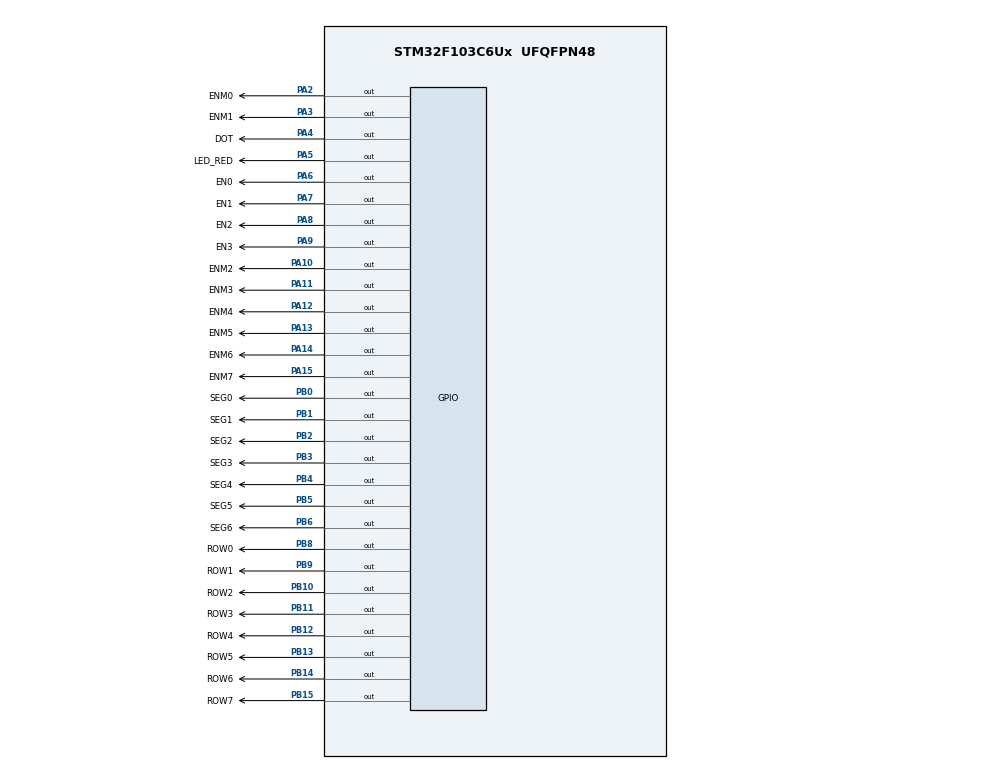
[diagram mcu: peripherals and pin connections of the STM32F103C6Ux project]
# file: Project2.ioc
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Mcu.Family=STM32F1
Mcu.Name=STM32F103C6Ux
Mcu.Package=UFQFPN48
NVIC.PriorityGroup=NVIC_PRIORITYGROUP_4
NVIC.TIM2_IRQn=true\:0\:0\:false\:false\:true\:true\:true
PA10.GPIO_Label=ENM2
PA10.Signal=GPIO_Output
PA11.GPIO_Label=ENM3
PA11.Signal=GPIO_Output
PA12.GPIO_Label=ENM4
PA12.Signal=GPIO_Output
PA13.GPIO_Label=ENM5
PA13.Signal=GPIO_Output
PA14.GPIO_Label=ENM6
PA14.Signal=GPIO_Output
PA15.GPIO_Label=ENM7
PA15.Signal=GPIO_Output
PA2.GPIO_Label=ENM0
PA2.Signal=GPIO_Output
PA3.GPIO_Label=ENM1
PA3.Signal=GPIO_Output
PA4.GPIO_Label=DOT
PA4.Signal=GPIO_Output
PA5.GPIO_Label=LED_RED
PA5.Signal=GPIO_Output
PA6.GPIO_Label=EN0
PA6.Signal=GPIO_Output
PA7.GPIO_Label=EN1
PA7.Signal=GPIO_Output
PA8.GPIO_Label=EN2
PA8.Signal=GPIO_Output
PA9.GPIO_Label=EN3
PA9.Signal=GPIO_Output
PB0.GPIO_Label=SEG0
PB0.Signal=GPIO_Output
PB1.GPIO_Label=SEG1
PB1.Signal=GPIO_Output
PB10.GPIO_Label=ROW2
PB10.Signal=GPIO_Output
PB11.GPIO_Label=ROW3
PB11.Signal=GPIO_Output
PB12.GPIO_Label=ROW4
PB12.Signal=GPIO_Output
PB13.GPIO_Label=ROW5
PB13.Signal=GPIO_Output
PB14.GPIO_Label=ROW6
PB14.Signal=GPIO_Output
PB15.GPIO_Label=ROW7
PB15.Signal=GPIO_Output
PB2.GPIO_Label=SEG2
PB2.Signal=GPIO_Output
PB3.GPIO_Label=SEG3
PB3.Signal=GPIO_Output
PB4.GPIO_Label=SEG4
PB4.Signal=GPIO_Output
PB5.GPIO_Label=SEG5
PB5.Signal=GPIO_Output
PB6.GPIO_Label=SEG6
PB6.Signal=GPIO_Output
PB8.GPIO_Label=ROW0
PB8.Signal=GPIO_Output
PB9.GPIO_Label=ROW1
PB9.Signal=GPIO_Output
ProjectManager.HeapSize=0x200
ProjectManager.StackSize=0x400
ProjectManager.TargetToolchain=STM32CubeIDE
RCC.APB1Freq_Value=8000000
RCC.APB2Freq_Value=8000000
TIM2.Period=9
TIM2.Prescaler=7999
VP_SYS_VS_ND.Mode=No_Debug
VP_TIM2_VS_ClockSourceINT.Mode=Internal
board=custom

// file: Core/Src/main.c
/* USER CODE BEGIN Header */
/**
  ******************************************************************************
  * @file           : main.c
  * @brief          : Main program body
  ******************************************************************************
  * @attention
  *
  * <h2><center>&copy; Copyright (c) 2025 STMicroelectronics.
  * All rights reserved.</center></h2>
  *
  * This software component is licensed by ST under BSD 3-Clause license,
  * the "License"; You may not use this file except in compliance with the
  * License. You may obtain a copy of the License at:
  *                        opensource.org/licenses/BSD-3-Clause
  *
  ******************************************************************************
  */
/* USER CODE END Header */
#include "main.h"
#include "display7seg.h"

TIM_HandleTypeDef htim2;

void SystemClock_Config(void);
static void MX_GPIO_Init(void);
static void MX_TIM2_Init(void);

int main(void)
{

  /* MCU Configuration--------------------------------------------------------*/

  /* Reset of all peripherals, Initializes the Flash interface and the Systick. */
  HAL_Init();

  /* Configure the system clock */
  SystemClock_Config();

  /* Initialize all configured peripherals */
  MX_GPIO_Init();
  MX_TIM2_Init();
  /* USER CODE BEGIN 2 */
  HAL_GPIO_WritePin(GPIOA, GPIO_PIN_6, RESET);
  HAL_GPIO_WritePin(GPIOA, GPIO_PIN_7, SET);
  HAL_TIM_Base_Start_IT(&htim2);
  /* USER CODE END 2 */

  /* Infinite loop */
  while (1)
  {

  }
}

void SystemClock_Config(void)
{
  RCC_OscInitTypeDef RCC_OscInitStruct = {0};
  RCC_ClkInitTypeDef RCC_ClkInitStruct = {0};

  /** Initializes the RCC Oscillators according to the specified parameters
  * in the RCC_OscInitTypeDef structure.
  */
  RCC_OscInitStruct.OscillatorType = RCC_OSCILLATORTYPE_HSI;
  RCC_OscInitStruct.HSIState = RCC_HSI_ON;
  RCC_OscInitStruct.HSICalibrationValue = RCC_HSICALIBRATION_DEFAULT;
  RCC_OscInitStruct.PLL.PLLState = RCC_PLL_NONE;
  if (HAL_RCC_OscConfig(&RCC_OscInitStruct) != HAL_OK)
  {
    Error_Handler();
  }
  /** Initializes the CPU, AHB and APB buses clocks
  */
  RCC_ClkInitStruct.ClockType = RCC_CLOCKTYPE_HCLK|RCC_CLOCKTYPE_SYSCLK
                              |RCC_CLOCKTYPE_PCLK1|RCC_CLOCKTYPE_PCLK2;
  RCC_ClkInitStruct.SYSCLKSource = RCC_SYSCLKSOURCE_HSI;
  RCC_ClkInitStruct.AHBCLKDivider = RCC_SYSCLK_DIV1;
  RCC_ClkInitStruct.APB1CLKDivider = RCC_HCLK_DIV1;
  RCC_ClkInitStruct.APB2CLKDivider = RCC_HCLK_DIV1;

  if (HAL_RCC_ClockConfig(&RCC_ClkInitStruct, FLASH_LATENCY_0) != HAL_OK)
  {
    Error_Handler();
  }
}

static void MX_TIM2_Init(void)
{

  TIM_ClockConfigTypeDef sClockSourceConfig = {0};
  TIM_MasterConfigTypeDef sMasterConfig = {0};

  htim2.Instance = TIM2;
  htim2.Init.Prescaler = 7999;
  htim2.Init.CounterMode = TIM_COUNTERMODE_UP;
  htim2.Init.Period = 9;
  htim2.Init.ClockDivision = TIM_CLOCKDIVISION_DIV1;
  htim2.Init.AutoReloadPreload = TIM_AUTORELOAD_PRELOAD_DISABLE;
  if (HAL_TIM_Base_Init(&htim2) != HAL_OK)
  {
    Error_Handler();
  }
  sClockSourceConfig.ClockSource = TIM_CLOCKSOURCE_INTERNAL;
  if (HAL_TIM_ConfigClockSource(&htim2, &sClockSourceConfig) != HAL_OK)
  {
    Error_Handler();
  }
  sMasterConfig.MasterOutputTrigger = TIM_TRGO_RESET;
  sMasterConfig.MasterSlaveMode = TIM_MASTERSLAVEMODE_DISABLE;
  if (HAL_TIMEx_MasterConfigSynchronization(&htim2, &sMasterConfig) != HAL_OK)
  {
    Error_Handler();
  }

}

static void MX_GPIO_Init(void)
{
  GPIO_InitTypeDef GPIO_InitStruct = {0};

  /* GPIO Ports Clock Enable */
  __HAL_RCC_GPIOA_CLK_ENABLE();
  __HAL_RCC_GPIOB_CLK_ENABLE();

  /*Configure GPIO pin Output Level */
  HAL_GPIO_WritePin(GPIOA, LED_RED_Pin|EN0_Pin|EN1_Pin, GPIO_PIN_RESET);

  /*Configure GPIO pin Output Level */
  HAL_GPIO_WritePin(GPIOB, SEG0_Pin|SEG1_Pin|SEG2_Pin|SEG3_Pin
                          |SEG4_Pin|SEG5_Pin|SEG6_Pin, GPIO_PIN_RESET);

  /*Configure GPIO pins : LED_RED_Pin EN0_Pin EN1_Pin */
  GPIO_InitStruct.Pin = LED_RED_Pin|EN0_Pin|EN1_Pin;
  GPIO_InitStruct.Mode = GPIO_MODE_OUTPUT_PP;
  GPIO_InitStruct.Pull = GPIO_NOPULL;
  GPIO_InitStruct.Speed = GPIO_SPEED_FREQ_LOW;
  HAL_GPIO_Init(GPIOA, &GPIO_InitStruct);

  /*Configure GPIO pins : SEG0_Pin SEG1_Pin SEG2_Pin SEG3_Pin
                           SEG4_Pin SEG5_Pin SEG6_Pin */
  GPIO_InitStruct.Pin = SEG0_Pin|SEG1_Pin|SEG2_Pin|SEG3_Pin
                          |SEG4_Pin|SEG5_Pin|SEG6_Pin;
  GPIO_InitStruct.Mode = GPIO_MODE_OUTPUT_PP;
  GPIO_InitStruct.Pull = GPIO_NOPULL;
  GPIO_InitStruct.Speed = GPIO_SPEED_FREQ_LOW;
  HAL_GPIO_Init(GPIOB, &GPIO_InitStruct);

}

/* USER CODE BEGIN 4 */
int counter1 = 100;
int counter2 = 50;
int state = 0;
void HAL_TIM_PeriodElapsedCallback(TIM_HandleTypeDef * htim){
	counter1--;
	counter2--;
	if(counter1 <= 0){
		HAL_GPIO_TogglePin(GPIOA, GPIO_PIN_5);
		counter1 = 100;
	}
	switch(state){
	case 0:
		display7SEG(1);
		if(counter2 <= 0){
			HAL_GPIO_WritePin(GPIOA, GPIO_PIN_7, RESET);
			HAL_GPIO_WritePin(GPIOA, GPIO_PIN_6, SET);
			state = 1;
			counter2 = 50;
		}
		break;
	case 1:
		display7SEG(2);
		if(counter2 <= 0){
			HAL_GPIO_WritePin(GPIOA, GPIO_PIN_6, RESET);
			HAL_GPIO_WritePin(GPIOA, GPIO_PIN_7, SET);
			state = 0;
			counter2 = 50;
		}
		break;
	}

}
/* USER CODE END 4 */

void Error_Handler(void)
{
  __disable_irq();
  while (1)
  {
  }
}

/************************ (C) COPYRIGHT STMicroelectronics *****END OF FILE****/
